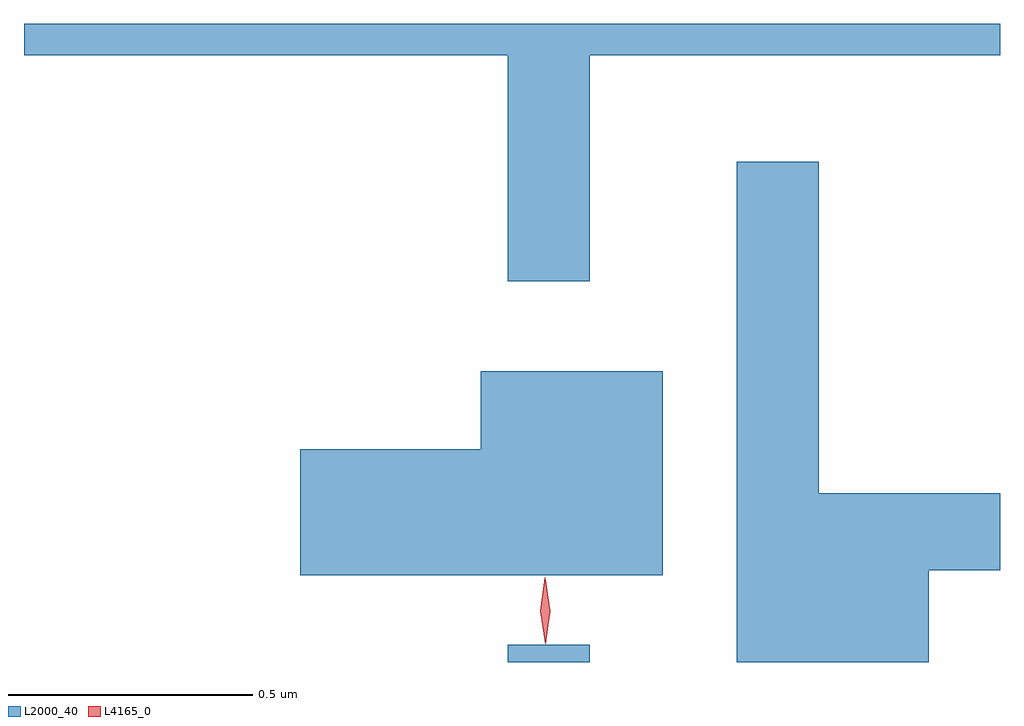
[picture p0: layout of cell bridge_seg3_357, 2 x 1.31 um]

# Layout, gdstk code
import gdstk
lib = gdstk.Library(unit=1e-6, precision=1e-09)
def R(c, l, rs):  # rectangles x0, y0, x1, y1
    for r in rs: c.add(gdstk.rectangle(r[:2], r[2:], *l))
def P(c, l, *ps):  # polygons
    for p in ps: c.add(gdstk.Polygon(p, *l))
L2000_40 = (2000, 40)
L4165_0 = (4165, 0)

bridge_seg3_357 = lib.new_cell('bridge_seg3_357')
R(bridge_seg3_357, L2000_40, [(565.001,1115.892,565.169,1115.928)])
P(bridge_seg3_357, L2000_40, [(565.169,1117.136),(566.01,1117.136),(566.01,1117.201),(564.01,1117.201),(564.01,1117.136),(565.001,1117.136),(565.001,1116.673),(565.169,1116.673)],
  [(565.864,1116.081),(566.01,1116.081),(566.01,1116.239),(565.639,1116.239),(565.639,1116.918),(565.471,1116.918),(565.471,1115.892),(565.864,1115.892)],
  [(565.319,1116.489),(564.946,1116.489),(564.946,1116.329),(564.576,1116.329),(564.576,1116.071),(565.319,1116.071)])
P(bridge_seg3_357, L4165_0, [(565.078,1115.93),(565.068,1115.998),(565.077,1116.065),(565.078,1116.066),(565.078,1116.065),(565.088,1115.998),(565.079,1115.93),(565.079,1115.93)],
  [(565.079,1115.933),(565.078,1115.934),(565.068,1115.996),(565.078,1116.06),(565.078,1116.06),(565.079,1116.06),(565.088,1115.996),(565.079,1115.934)])

lib.write_gds('bridge_seg3_357.gds')
